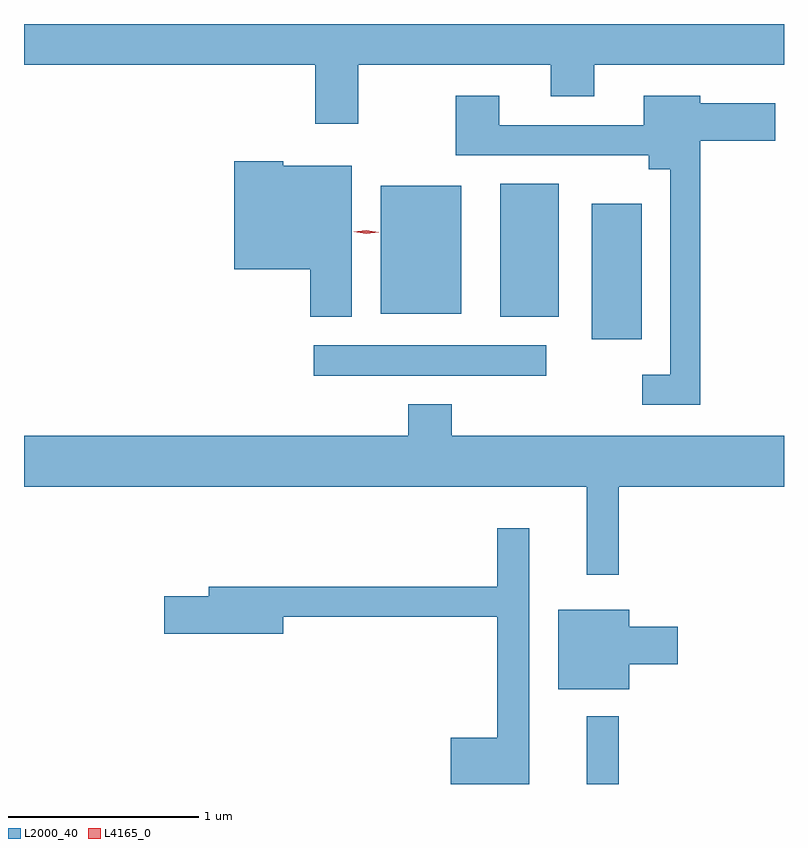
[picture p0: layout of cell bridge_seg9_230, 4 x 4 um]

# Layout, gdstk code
import gdstk
lib = gdstk.Library(unit=1e-6, precision=1e-09)
def R(c, l, rs):  # rectangles x0, y0, x1, y1
    for r in rs: c.add(gdstk.rectangle(r[:2], r[2:], *l))
def P(c, l, *ps):  # polygons
    for p in ps: c.add(gdstk.Polygon(p, *l))
L2000_40 = (2000, 40)
L4165_0 = (4165, 0)

bridge_seg9_230 = lib.new_cell('bridge_seg9_230')
R(bridge_seg9_230, L2000_40, [(1451.071,1954.731,1451.239,1955.088), (1449.633,1956.881,1450.858,1957.039), (1451.096,1957.071,1451.359,1957.784), (1450.616,1957.191,1450.924,1957.889), (1449.986,1957.206,1450.409,1957.879)])
P(bridge_seg9_230, L2000_40, [(1449.869,1958.516),(1450.881,1958.516),(1450.881,1958.351),(1451.109,1958.351),(1451.109,1958.516),(1452.109,1958.516),(1452.109,1958.731),(1448.109,1958.731),(1448.109,1958.516),(1449.641,1958.516),(1449.641,1958.206),(1449.869,1958.206)],
  [(1451.669,1958.116),(1452.064,1958.116),(1452.064,1958.314),(1451.669,1958.314),(1451.669,1958.354),(1451.371,1958.354),(1451.371,1958.199),(1450.609,1958.199),(1450.609,1958.354),(1450.381,1958.354),(1450.381,1958.041),(1451.396,1958.041),(1451.396,1957.966),(1451.511,1957.966),(1451.511,1956.884),(1451.363,1956.884),(1451.363,1956.726),(1451.669,1956.726)],
  [(1449.834,1957.984),(1449.474,1957.984),(1449.474,1958.009),(1449.216,1958.009),(1449.216,1957.441),(1449.616,1957.441),(1449.616,1957.191),(1449.834,1957.191)],
  [(1451.239,1956.296),(1452.109,1956.296),(1452.109,1956.564),(1450.359,1956.564),(1450.359,1956.729),(1450.131,1956.729),(1450.131,1956.564),(1448.109,1956.564),(1448.109,1956.296),(1451.071,1956.296),(1451.071,1955.833),(1451.239,1955.833)],
  [(1450.769,1956.078),(1450.601,1956.078),(1450.601,1955.769),(1449.081,1955.769),(1449.081,1955.719),(1448.846,1955.719),(1448.846,1955.521),(1449.474,1955.521),(1449.474,1955.611),(1450.601,1955.611),(1450.601,1954.974),(1450.356,1954.974),(1450.356,1954.731),(1450.769,1954.731)],
  [(1451.294,1955.361),(1451.549,1955.361),(1451.549,1955.559),(1451.294,1955.559),(1451.294,1955.649),(1450.921,1955.649),(1450.921,1955.231),(1451.294,1955.231)])
P(bridge_seg9_230, L4165_0, [(1449.91,1957.627),(1449.844,1957.637),(1449.844,1957.637),(1449.844,1957.638),(1449.91,1957.646),(1449.976,1957.636),(1449.976,1957.636),(1449.976,1957.635)])

lib.write_gds('bridge_seg9_230.gds')
